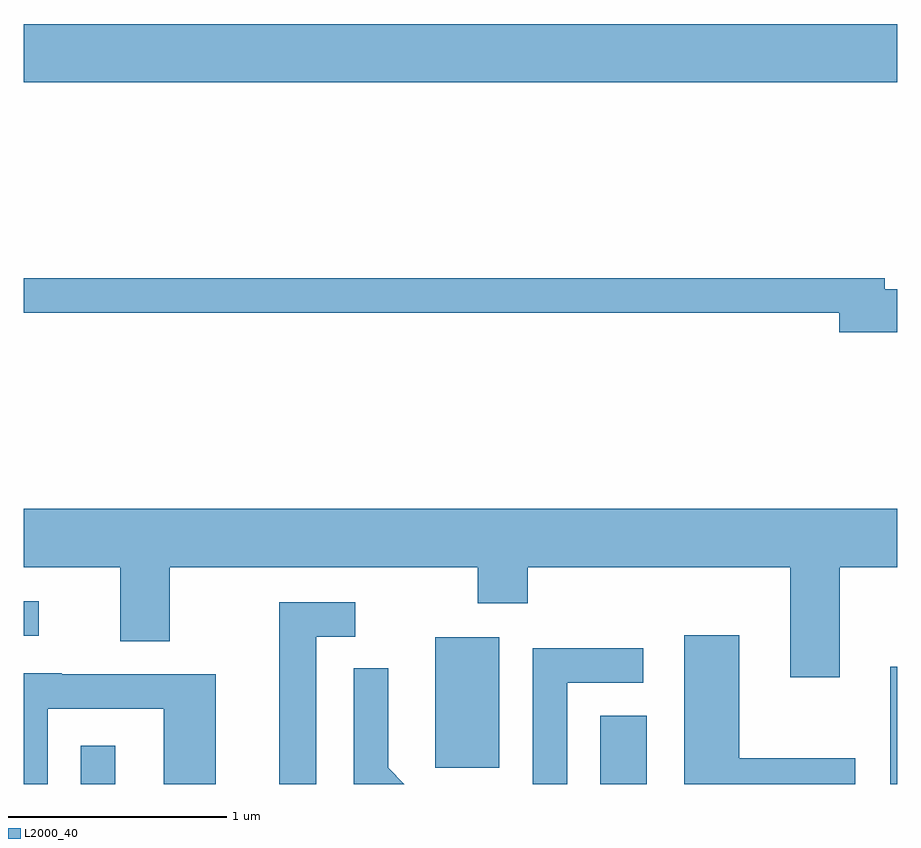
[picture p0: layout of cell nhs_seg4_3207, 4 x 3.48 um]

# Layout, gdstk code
import gdstk
lib = gdstk.Library(unit=1e-6, precision=1e-09)
def R(c, l, rs):  # rectangles x0, y0, x1, y1
    for r in rs: c.add(gdstk.rectangle(r[:2], r[2:], *l))
def P(c, l, *ps):  # polygons
    for p in ps: c.add(gdstk.Polygon(p, *l))
L2000_40 = (2000, 40)

nhs_seg4_3207 = lib.new_cell('nhs_seg4_3207')
R(nhs_seg4_3207, L2000_40, [(279.871,1275.982,280.029,1276.158), (282.251,1275.982,282.464,1276.294), (283.581,1275.982,283.611,1276.519), (281.496,1276.056,281.789,1276.654), (279.611,1276.661,279.678,1276.819), (279.611,1279.196,283.611,1279.464)])
P(nhs_seg4_3207, L2000_40, [(283.611,1278.249),(283.554,1278.249),(283.554,1278.299),(279.611,1278.299),(279.611,1278.141),(283.346,1278.141),(283.346,1278.051),(283.611,1278.051)],
  [(283.349,1276.976),(283.611,1276.976),(283.611,1277.244),(279.611,1277.244),(279.611,1276.976),(280.051,1276.976),(280.051,1276.636),(280.279,1276.636),(280.279,1276.976),(281.691,1276.976),(281.691,1276.811),(281.919,1276.811),(281.919,1276.976),(283.121,1276.976),(283.121,1276.471),(283.349,1276.471)],
  [(280.949,1276.656),(281.128,1276.656),(281.128,1276.814),(280.781,1276.814),(280.781,1275.982),(280.949,1275.982)],
  [(283.419,1276.099),(282.889,1276.099),(282.889,1276.664),(282.636,1276.664),(282.636,1275.982),(283.419,1275.982)],
  [(282.099,1276.446),(282.448,1276.446),(282.448,1276.604),(281.941,1276.604),(281.941,1275.982),(282.099,1275.982)],
  [(281.279,1276.057),(281.279,1276.513),(281.121,1276.513),(281.121,1275.984),(281.123,1275.982),(281.354,1275.982)],
  [(279.719,1276.326),(280.251,1276.326),(280.251,1275.982),(280.489,1275.982),(280.489,1276.484),(279.785,1276.484),(279.785,1276.489),(279.611,1276.489),(279.611,1275.982),(279.719,1275.982)])

lib.write_gds('nhs_seg4_3207.gds')
